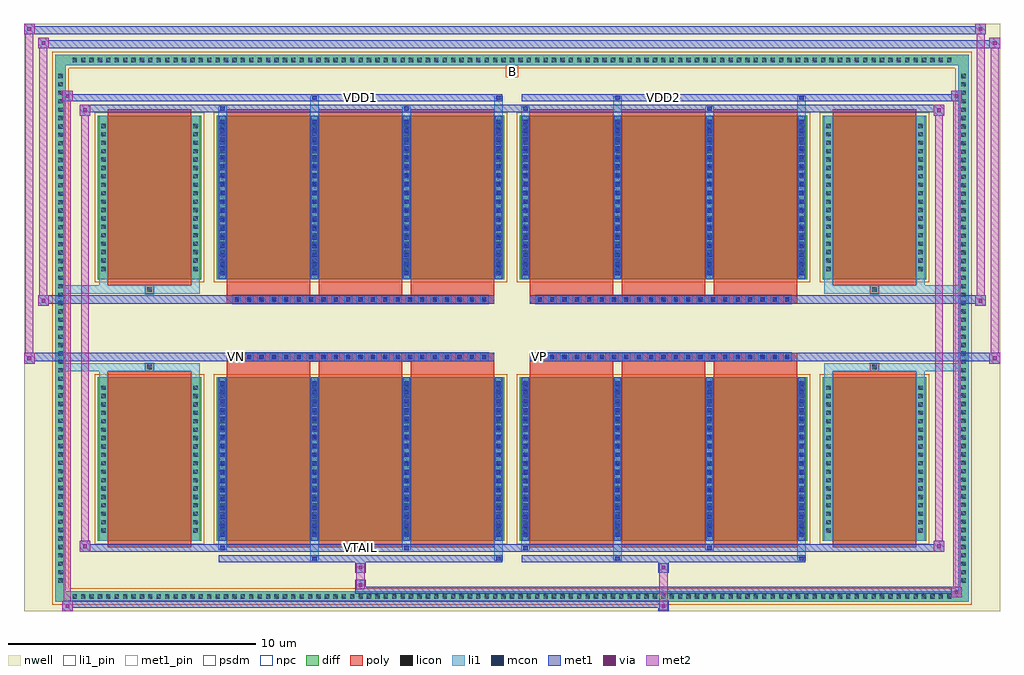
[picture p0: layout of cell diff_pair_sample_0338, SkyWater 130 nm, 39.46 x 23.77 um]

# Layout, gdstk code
import gdstk
lib = gdstk.Library(unit=1e-6, precision=5e-09)
def R(c, l, rs):  # rectangles x0, y0, x1, y1
    for r in rs: c.add(gdstk.rectangle(r[:2], r[2:], *l))
def A(c, l, x, y, w, h, nx, ny, dx, dy):  # array of equal rectangles
    R(c, l, [(x+i*dx, y+j*dy, x+i*dx+w, y+j*dy+h) for i in range(nx) for j in range(ny)])
def P(c, l, *ps):  # polygons
    for p in ps: c.add(gdstk.Polygon(p, *l))
nwell = (64, 20)
diff = (65, 20)
poly = (66, 20)
licon = (66, 44)
li1_pin = (67, 16)
li1 = (67, 20)
mcon = (67, 44)
met1_pin = (68, 16)
met1 = (68, 20)
via = (68, 44)
met2 = (69, 20)
psdm = (94, 20)
npc = (95, 20)

diff_pair_sample_0338 = lib.new_cell('diff_pair_sample_0338')
R(diff_pair_sample_0338, nwell, [(-19.73,-11.45,19.73,12.32), (-17.05,-9.64,-0.01,-0.8), (0.01,-9.64,17.05,-0.8), (-17.05,0.8,-0.01,9.64), (0.01,0.8,17.05,9.64)])
A(diff_pair_sample_0338, diff, -17.885, -11.05, 0.41, 0.41, 105, 2, 0.34, 21.69)
A(diff_pair_sample_0338, diff, -18.46, -10.405, 0.41, 0.41, 1, 61, 0, 0.34)
A(diff_pair_sample_0338, diff, 18.05, -10.405, 0.41, 0.41, 1, 61, 0, 0.34)
R(diff_pair_sample_0338, diff, [(-17.885,-11.05,17.885,-10.64), (-18.46,-10.405,-18.05,10.405), (18.05,-10.405,18.46,10.405), (-16.74,-8.595,-12.57,-1.985), (-11.93,-8.595,-0.32,-1.985), (0.32,-8.595,11.93,-1.985), (12.57,-8.595,16.74,-1.985), (-16.74,1.985,-12.57,8.595), (-11.93,1.985,-0.32,8.595), (0.32,1.985,11.93,8.595), (12.57,1.985,16.74,8.595), (-17.885,10.64,17.885,11.05)])
P(diff_pair_sample_0338, diff, [(18.46,11.05),(-18.46,11.05),(-18.46,-10.64),(-18.05,-10.64),(-18.05,10.64),(18.05,10.64),(18.05,-10.64),(-18.05,-10.64),(-18.46,-10.64),(-18.46,-11.05),(18.46,-11.05)])
A(diff_pair_sample_0338, poly, -11.54, -8.845, 3.39, 7.11, 3, 2, 3.72, 10.58)
A(diff_pair_sample_0338, poly, 0.71, -8.845, 3.39, 7.11, 3, 2, 3.72, 10.58)
A(diff_pair_sample_0338, poly, -11.54, -1.735, 3.39, 0.405, 3, 2, 3.72, 3.065)
A(diff_pair_sample_0338, poly, 0.71, -1.735, 3.39, 0.405, 3, 2, 3.72, 3.065)
A(diff_pair_sample_0338, poly, -11.29, -1.33, 0.33, 0.33, 21, 2, 0.5, 2.33)
A(diff_pair_sample_0338, poly, 0.96, -1.33, 0.33, 0.33, 21, 2, 0.5, 2.33)
R(diff_pair_sample_0338, poly, [(-16.35,-8.845,-12.96,-1.735), (12.96,-8.845,16.35,-1.735), (-14.82,-1.735,-14.49,-1.405), (-14.82,-1.735,-14.49,-1.405), (14.49,-1.735,14.82,-1.405), (14.49,-1.735,14.82,-1.405), (-11.54,-1.33,-0.71,-1), (0.71,-1.33,11.54,-1), (-11.54,1,-0.71,1.33), (0.71,1,11.54,1.33), (-14.82,1.405,-14.49,1.735), (-14.82,1.405,-14.49,1.735), (14.49,1.405,14.82,1.735), (14.49,1.405,14.82,1.735), (-16.35,1.735,-12.96,8.845), (12.96,1.735,16.35,8.845)])
A(diff_pair_sample_0338, licon, -17.765, -10.93, 0.17, 0.17, 105, 2, 0.34, 21.69)
A(diff_pair_sample_0338, licon, -18.34, -10.285, 0.17, 0.17, 1, 61, 0, 0.34)
A(diff_pair_sample_0338, licon, 18.17, -10.285, 0.17, 0.17, 1, 61, 0, 0.34)
A(diff_pair_sample_0338, licon, -16.6, -8.265, 0.17, 0.17, 1, 18, 0, 0.34)
A(diff_pair_sample_0338, licon, -12.88, -8.265, 0.17, 0.17, 1, 18, 0, 0.34)
A(diff_pair_sample_0338, licon, -11.79, -8.265, 0.17, 0.17, 4, 18, 3.72, 0.34)
A(diff_pair_sample_0338, licon, 0.46, -8.265, 0.17, 0.17, 4, 18, 3.72, 0.34)
A(diff_pair_sample_0338, licon, 12.71, -8.265, 0.17, 0.17, 1, 18, 0, 0.34)
A(diff_pair_sample_0338, licon, 16.43, -8.265, 0.17, 0.17, 1, 18, 0, 0.34)
A(diff_pair_sample_0338, licon, -11.21, -1.25, 0.17, 0.17, 21, 2, 0.5, 2.33)
A(diff_pair_sample_0338, licon, 1.04, -1.25, 0.17, 0.17, 21, 2, 0.5, 2.33)
A(diff_pair_sample_0338, licon, -16.6, 2.315, 0.17, 0.17, 1, 18, 0, 0.34)
A(diff_pair_sample_0338, licon, -12.88, 2.315, 0.17, 0.17, 1, 18, 0, 0.34)
A(diff_pair_sample_0338, licon, -11.79, 2.315, 0.17, 0.17, 4, 18, 3.72, 0.34)
A(diff_pair_sample_0338, licon, 0.46, 2.315, 0.17, 0.17, 4, 18, 3.72, 0.34)
A(diff_pair_sample_0338, licon, 12.71, 2.315, 0.17, 0.17, 1, 18, 0, 0.34)
A(diff_pair_sample_0338, licon, 16.43, 2.315, 0.17, 0.17, 1, 18, 0, 0.34)
R(diff_pair_sample_0338, licon, [(-14.74,-1.655,-14.57,-1.485), (14.57,-1.655,14.74,-1.485), (-14.74,1.485,-14.57,1.655), (14.57,1.485,14.74,1.655)])
R(diff_pair_sample_0338, li1_pin, [(-0.25,10.14,0.25,10.64)])
A(diff_pair_sample_0338, li1, -17.845, -11.01, 0.33, 0.33, 105, 2, 0.34, 21.69)
A(diff_pair_sample_0338, li1, -18.42, -10.365, 0.33, 0.33, 1, 61, 0, 0.34)
A(diff_pair_sample_0338, li1, 18.09, -10.365, 0.33, 0.33, 1, 61, 0, 0.34)
A(diff_pair_sample_0338, li1, -11.87, -8.595, 0.33, 6.61, 4, 2, 3.72, 10.58)
A(diff_pair_sample_0338, li1, 0.38, -8.595, 0.33, 6.61, 4, 2, 3.72, 10.58)
A(diff_pair_sample_0338, li1, -11.79, -8.435, 0.17, 0.17, 4, 18, 3.72, 0.36)
A(diff_pair_sample_0338, li1, -11.79, -8.435, 0.17, 6.29, 4, 2, 3.72, 10.58)
A(diff_pair_sample_0338, li1, 0.46, -8.435, 0.17, 0.17, 4, 18, 3.72, 0.36)
A(diff_pair_sample_0338, li1, 0.46, -8.435, 0.17, 6.29, 4, 2, 3.72, 10.58)
A(diff_pair_sample_0338, li1, -16.68, -8.345, 0.33, 0.33, 1, 18, 0, 0.34)
A(diff_pair_sample_0338, li1, -12.96, -8.345, 0.33, 0.33, 1, 18, 0, 0.34)
A(diff_pair_sample_0338, li1, -11.87, -8.345, 0.33, 0.33, 4, 18, 3.72, 0.34)
A(diff_pair_sample_0338, li1, 0.38, -8.345, 0.33, 0.33, 4, 18, 3.72, 0.34)
A(diff_pair_sample_0338, li1, 12.63, -8.345, 0.33, 0.33, 1, 18, 0, 0.34)
A(diff_pair_sample_0338, li1, 16.35, -8.345, 0.33, 0.33, 1, 18, 0, 0.34)
A(diff_pair_sample_0338, li1, -11.29, -1.33, 0.33, 0.33, 21, 2, 0.5, 2.33)
A(diff_pair_sample_0338, li1, 0.96, -1.33, 0.33, 0.33, 21, 2, 0.5, 2.33)
A(diff_pair_sample_0338, li1, -11.79, 2.145, 0.17, 0.17, 4, 18, 3.72, 0.36)
A(diff_pair_sample_0338, li1, 0.46, 2.145, 0.17, 0.17, 4, 18, 3.72, 0.36)
A(diff_pair_sample_0338, li1, -16.68, 2.235, 0.33, 0.33, 1, 18, 0, 0.34)
A(diff_pair_sample_0338, li1, -12.96, 2.235, 0.33, 0.33, 1, 18, 0, 0.34)
A(diff_pair_sample_0338, li1, -11.87, 2.235, 0.33, 0.33, 4, 18, 3.72, 0.34)
A(diff_pair_sample_0338, li1, 0.38, 2.235, 0.33, 0.33, 4, 18, 3.72, 0.34)
A(diff_pair_sample_0338, li1, 12.63, 2.235, 0.33, 0.33, 1, 18, 0, 0.34)
A(diff_pair_sample_0338, li1, 16.35, 2.235, 0.33, 0.33, 1, 18, 0, 0.34)
R(diff_pair_sample_0338, li1, [(-18.46,-11.05,-18.05,-10.64), (-18.46,-11.05,-18.05,-10.64), (-18.05,-11.05,18.05,-10.64), (18.05,-11.05,18.46,-10.64), (18.05,-11.05,18.46,-10.64), (-18.46,-10.64,-18.05,10.64), (18.05,-10.64,18.46,10.64), (-8.15,-9.4,-7.82,-8.595), (-8.07,-9.4,-7.9,-9.23), (-0.71,-9.4,-0.38,-8.595), (-0.63,-9.4,-0.46,-9.23), (4.1,-9.4,4.43,-8.595), (4.18,-9.4,4.35,-9.23), (11.54,-9.4,11.87,-8.595), (11.62,-9.4,11.79,-9.23), (-11.87,-8.97,-11.54,-8.595), (-11.79,-8.97,-11.62,-8.8), (-4.43,-8.97,-4.1,-8.595), (-4.35,-8.97,-4.18,-8.8), (0.38,-8.97,0.71,-8.595), (0.46,-8.97,0.63,-8.8), (7.82,-8.97,8.15,-8.595), (7.9,-8.97,8.07,-8.8), (-16.68,-8.595,-16.35,-1.985), (-12.96,-8.595,-12.63,-1.985), (12.63,-8.595,12.96,-1.985), (16.35,-8.595,16.68,-1.985), (-16.68,-1.985,-16.35,-1.405), (-12.96,-1.985,-12.63,-1.405), (12.63,-1.985,12.96,-1.405), (16.35,-1.985,16.68,-1.405), (-18.46,-1.735,-14.82,-1.405), (-16.68,-1.735,-14.82,-1.405), (-14.82,-1.735,-14.49,-1.405), (-14.49,-1.735,-12.63,-1.405), (12.63,-1.735,14.49,-1.405), (14.49,-1.735,14.82,-1.405), (14.49,-1.735,18.46,-1.405), (14.82,-1.735,16.68,-1.405), (-18.46,1.405,-14.82,1.735), (-16.68,1.405,-14.82,1.735), (-16.68,1.405,-16.35,1.985), (-14.82,1.405,-14.49,1.735), (-14.49,1.405,-12.63,1.735), (-12.96,1.405,-12.63,1.985), (12.63,1.405,14.49,1.735), (12.63,1.405,12.96,1.985), (14.49,1.405,14.82,1.735), (14.49,1.405,18.46,1.735), (14.82,1.405,16.68,1.735), (16.35,1.405,16.68,1.985), (-16.68,1.985,-16.35,8.595), (-12.96,1.985,-12.63,8.595), (12.63,1.985,12.96,8.595), (16.35,1.985,16.68,8.595), (-11.87,8.595,-11.54,8.97), (-8.15,8.595,-7.82,9.4), (-4.43,8.595,-4.1,8.97), (-0.71,8.595,-0.38,9.4), (0.38,8.595,0.71,8.97), (4.1,8.595,4.43,9.4), (7.82,8.595,8.15,8.97), (11.54,8.595,11.87,9.4), (-11.79,8.8,-11.62,8.97), (-4.35,8.8,-4.18,8.97), (0.46,8.8,0.63,8.97), (7.9,8.8,8.07,8.97), (-8.07,9.23,-7.9,9.4), (-0.63,9.23,-0.46,9.4), (4.18,9.23,4.35,9.4), (11.62,9.23,11.79,9.4), (-18.46,10.64,-18.05,11.05), (-18.46,10.64,-18.05,11.05), (-18.05,10.64,18.05,11.05), (18.05,10.64,18.46,11.05), (18.05,10.64,18.46,11.05)])
A(diff_pair_sample_0338, mcon, -11.79, -8.435, 0.17, 0.17, 4, 18, 3.72, 0.36)
A(diff_pair_sample_0338, mcon, 0.46, -8.435, 0.17, 0.17, 4, 18, 3.72, 0.36)
A(diff_pair_sample_0338, mcon, -11.21, -1.25, 0.17, 0.17, 21, 2, 0.5, 2.33)
A(diff_pair_sample_0338, mcon, 1.04, -1.25, 0.17, 0.17, 21, 2, 0.5, 2.33)
A(diff_pair_sample_0338, mcon, -11.79, 2.145, 0.17, 0.17, 4, 18, 3.72, 0.36)
A(diff_pair_sample_0338, mcon, 0.46, 2.145, 0.17, 0.17, 4, 18, 3.72, 0.36)
R(diff_pair_sample_0338, mcon, [(-8.07,-9.4,-7.9,-9.23), (-0.63,-9.4,-0.46,-9.23), (4.18,-9.4,4.35,-9.23), (11.62,-9.4,11.79,-9.23), (-11.79,-8.97,-11.62,-8.8), (-4.35,-8.97,-4.18,-8.8), (0.46,-8.97,0.63,-8.8), (7.9,-8.97,8.07,-8.8), (-11.79,8.8,-11.62,8.97), (-4.35,8.8,-4.18,8.97), (0.46,8.8,0.63,8.97), (7.9,8.8,8.07,8.97), (-8.07,9.23,-7.9,9.4), (-0.63,9.23,-0.46,9.4), (4.18,9.23,4.35,9.4), (11.62,9.23,11.79,9.4)])
R(diff_pair_sample_0338, met1_pin, [(-6.26,-9.01,-5.99,-8.74), (-11.26,-1.29,-10.99,-1.02), (0.99,-1.29,1.26,-1.02), (-6.26,9.19,-5.99,9.46), (5.99,9.19,6.26,9.46)])
A(diff_pair_sample_0338, met1, -11.85, -8.595, 0.29, 6.61, 4, 2, 3.72, 10.58)
A(diff_pair_sample_0338, met1, 0.4, -8.595, 0.29, 6.61, 4, 2, 3.72, 10.58)
A(diff_pair_sample_0338, met1, -11.85, -8.495, 0.29, 0.29, 4, 18, 3.72, 0.36)
A(diff_pair_sample_0338, met1, 0.4, -8.495, 0.29, 0.29, 4, 18, 3.72, 0.36)
A(diff_pair_sample_0338, met1, -11.27, -1.31, 0.29, 0.29, 21, 2, 0.5, 2.33)
A(diff_pair_sample_0338, met1, 0.98, -1.31, 0.29, 0.29, 21, 2, 0.5, 2.33)
A(diff_pair_sample_0338, met1, -11.85, 2.085, 0.29, 0.29, 4, 18, 3.72, 0.36)
A(diff_pair_sample_0338, met1, 0.4, 2.085, 0.29, 0.29, 4, 18, 3.72, 0.36)
R(diff_pair_sample_0338, met1, [(-18.19,-11.45,-17.76,-11.02), (5.91,-11.45,6.34,-11.02), (-18.19,-11.31,6.34,-11.02), (17.76,-10.88,18.19,-10.45), (-6.34,-10.74,18.19,-10.45), (-6.34,-10.6,-5.91,-10.17), (-6.34,-9.89,-5.91,-9.46), (5.91,-9.89,6.34,-9.46), (-11.85,-9.46,-0.4,-9.17), (-8.13,-9.46,-7.84,-9.17), (-0.69,-9.46,-0.4,-9.17), (0.4,-9.46,11.85,-9.17), (4.12,-9.46,4.41,-9.17), (11.56,-9.46,11.85,-9.17), (-17.48,-9.03,-17.05,-8.6), (-17.48,-9.03,-11.85,-8.74), (-11.85,-9.03,-11.56,-8.74), (-11.85,-9.03,-0.4,-8.74), (-4.41,-9.03,-4.12,-8.74), (-0.4,-9.03,0.4,-8.74), (0.4,-9.03,0.69,-8.74), (0.4,-9.03,11.85,-8.74), (7.84,-9.03,8.13,-8.74), (11.85,-9.03,17.48,-8.74), (17.05,-9.03,17.48,-8.6), (-19.73,-1.43,-19.3,-1), (19.3,-1.43,19.73,-1), (-19.73,-1.33,-0.71,-1), (-11.54,-1.33,-0.71,-1), (0.71,-1.33,11.54,-1), (0.71,-1.33,19.73,-1), (-19.16,0.9,-18.73,1.33), (18.73,0.9,19.16,1.33), (-19.16,1,-11.54,1.33), (-11.54,1,-0.71,1.33), (0.71,1,11.54,1.33), (11.54,1,19.16,1.33), (-17.48,8.6,-17.05,9.03), (17.05,8.6,17.48,9.03), (-17.48,8.74,-11.85,9.03), (-11.85,8.74,-11.56,9.03), (-11.85,8.74,-0.4,9.03), (-4.41,8.74,-4.12,9.03), (-0.4,8.74,0.4,9.03), (0.4,8.74,0.69,9.03), (0.4,8.74,11.85,9.03), (7.84,8.74,8.13,9.03), (11.85,8.74,17.48,9.03), (-18.19,9.17,-17.76,9.6), (-18.19,9.17,-11.85,9.46), (-11.85,9.17,-0.4,9.46), (-8.13,9.17,-7.84,9.46), (-0.69,9.17,-0.4,9.46), (0.4,9.17,11.85,9.46), (4.12,9.17,4.41,9.46), (11.56,9.17,11.85,9.46), (11.85,9.17,18.19,9.46), (17.76,9.17,18.19,9.6), (-19.16,11.32,-18.73,11.75), (-19.16,11.32,-17.05,11.65), (-17.05,11.32,17.05,11.65), (17.05,11.32,19.73,11.65), (19.3,11.32,19.73,11.75), (-19.73,11.89,-19.3,12.32), (-19.73,11.89,-17.05,12.22), (-17.05,11.89,17.05,12.22), (17.05,11.89,19.16,12.22), (18.73,11.89,19.16,12.32)])
R(diff_pair_sample_0338, via, [(-18.05,-11.31,-17.9,-11.16), (6.05,-11.31,6.2,-11.16), (17.9,-10.74,18.05,-10.59), (-6.2,-10.46,-6.05,-10.31), (-6.2,-9.75,-6.05,-9.6), (6.05,-9.75,6.2,-9.6), (-17.34,-8.89,-17.19,-8.74), (17.19,-8.89,17.34,-8.74), (-19.59,-1.29,-19.44,-1.14), (19.44,-1.29,19.59,-1.14), (-19.02,1.04,-18.87,1.19), (18.87,1.04,19.02,1.19), (-17.34,8.74,-17.19,8.89), (17.19,8.74,17.34,8.89), (-18.05,9.31,-17.9,9.46), (17.9,9.31,18.05,9.46), (-19.02,11.46,-18.87,11.61), (19.44,11.46,19.59,11.61), (-19.59,12.03,-19.44,12.18), (18.87,12.03,19.02,12.18)])
R(diff_pair_sample_0338, met2, [(-18.19,-11.45,-17.76,-11.02), (-18.12,-11.45,-17.83,9.6), (-17.83,-11.45,-17.76,-11.02), (-18.14,-11.4,-17.81,-11.07), (5.96,-11.4,6.29,-11.07), (5.96,-11.07,6.29,-9.84), (17.76,-10.88,18.19,-10.45), (17.83,-10.88,18.12,9.6), (18.12,-10.88,18.19,-10.45), (17.81,-10.83,18.14,-10.5), (-6.29,-10.55,-5.96,-10.22), (-6.29,-10.22,-5.96,-9.84), (-6.29,-9.84,-5.96,-9.51), (5.96,-9.84,6.29,-9.51), (-17.48,-9.03,-17.05,-8.6), (-17.41,-9.03,-17.12,9.03), (-17.12,-9.03,-17.05,-8.6), (17.05,-9.03,17.48,-8.6), (17.12,-9.03,17.41,9.03), (17.41,-9.03,17.48,-8.6), (-17.43,-8.98,-17.1,-8.65), (17.1,-8.98,17.43,-8.65), (-19.73,-1.43,-19.3,-1), (-19.68,-1.43,-19.35,12.32), (-19.35,-1.43,-19.3,-1), (19.3,-1.43,19.73,-1), (19.35,-1.43,19.68,11.75), (19.68,-1.43,19.73,-1), (-19.68,-1.38,-19.35,-1.05), (19.35,-1.38,19.68,-1.05), (-19.16,0.9,-18.73,1.33), (-19.11,0.9,-18.78,11.75), (-18.78,0.9,-18.73,1.33), (18.73,0.9,19.16,1.33), (18.78,0.9,19.11,12.32), (19.11,0.9,19.16,1.33), (-19.11,0.95,-18.78,1.28), (18.78,0.95,19.11,1.28), (-17.48,8.6,-17.05,9.03), (-17.12,8.6,-17.05,9.03), (17.05,8.6,17.48,9.03), (17.41,8.6,17.48,9.03), (-17.43,8.65,-17.1,8.98), (17.1,8.65,17.43,8.98), (-18.19,9.17,-17.76,9.6), (-17.83,9.17,-17.76,9.6), (17.76,9.17,18.19,9.6), (18.12,9.17,18.19,9.6), (-18.14,9.22,-17.81,9.55), (17.81,9.22,18.14,9.55), (-19.16,11.32,-18.73,11.75), (-18.78,11.32,-18.73,11.75), (19.3,11.32,19.73,11.75), (19.68,11.32,19.73,11.75), (-19.11,11.37,-18.78,11.7), (19.35,11.37,19.68,11.7), (-19.73,11.89,-19.3,12.32), (-19.35,11.89,-19.3,12.32), (18.73,11.89,19.16,12.32), (19.11,11.89,19.16,12.32), (-19.68,11.94,-19.35,12.27), (18.78,11.94,19.11,12.27)])
R(diff_pair_sample_0338, psdm, [(-16.87,-8.725,-12.44,-1.855), (-12.06,-8.725,-0.19,-1.855), (0.19,-8.725,12.06,-1.855), (12.44,-8.725,16.87,-1.855), (-16.87,1.855,-12.44,8.725), (-12.06,1.855,-0.19,8.725), (0.19,1.855,12.06,8.725), (12.44,1.855,16.87,8.725)])
P(diff_pair_sample_0338, psdm, [(18.59,11.18),(-18.59,11.18),(-18.59,-10.51),(-17.92,-10.51),(-17.92,10.51),(17.92,10.51),(17.92,-10.51),(-17.92,-10.51),(-18.59,-10.51),(-18.59,-11.18),(18.59,-11.18)])
A(diff_pair_sample_0338, npc, -11.31, -1.35, 0.37, 0.37, 21, 2, 0.5, 2.33)
A(diff_pair_sample_0338, npc, 0.94, -1.35, 0.37, 0.37, 21, 2, 0.5, 2.33)
R(diff_pair_sample_0338, npc, [(-14.84,-1.755,-14.47,-1.385), (14.47,-1.755,14.84,-1.385), (-11.31,-1.35,-10.44,-0.98), (-11.31,-1.35,-10.44,-0.98), (-10.81,-1.35,-9.94,-0.98), (-10.81,-1.35,-9.94,-0.98), (-10.31,-1.35,-9.44,-0.98), (-10.31,-1.35,-9.44,-0.98), (-9.81,-1.35,-8.94,-0.98), (-9.81,-1.35,-8.94,-0.98), (-9.31,-1.35,-8.44,-0.98), (-9.31,-1.35,-8.44,-0.98), (-8.81,-1.35,-7.94,-0.98), (-8.81,-1.35,-7.94,-0.98), (-8.31,-1.35,-7.44,-0.98), (-8.31,-1.35,-7.44,-0.98), (-7.81,-1.35,-6.94,-0.98), (-7.81,-1.35,-6.94,-0.98), (-7.31,-1.35,-6.44,-0.98), (-7.31,-1.35,-6.44,-0.98), (-6.81,-1.35,-5.94,-0.98), (-6.81,-1.35,-5.94,-0.98), (-6.31,-1.35,-5.44,-0.98), (-6.31,-1.35,-5.44,-0.98), (-5.81,-1.35,-4.94,-0.98), (-5.81,-1.35,-4.94,-0.98), (-5.31,-1.35,-4.44,-0.98), (-5.31,-1.35,-4.44,-0.98), (-4.81,-1.35,-3.94,-0.98), (-4.81,-1.35,-3.94,-0.98), (-4.31,-1.35,-3.44,-0.98), (-4.31,-1.35,-3.44,-0.98), (-3.81,-1.35,-2.94,-0.98), (-3.81,-1.35,-2.94,-0.98), (-3.31,-1.35,-2.44,-0.98), (-3.31,-1.35,-2.44,-0.98), (-2.81,-1.35,-1.94,-0.98), (-2.81,-1.35,-1.94,-0.98), (-2.31,-1.35,-1.44,-0.98), (-2.31,-1.35,-1.44,-0.98), (-1.81,-1.35,-0.94,-0.98), (-1.81,-1.35,-0.94,-0.98), (0.94,-1.35,1.81,-0.98), (0.94,-1.35,1.81,-0.98), (1.44,-1.35,2.31,-0.98), (1.44,-1.35,2.31,-0.98), (1.94,-1.35,2.81,-0.98), (1.94,-1.35,2.81,-0.98), (2.44,-1.35,3.31,-0.98), (2.44,-1.35,3.31,-0.98), (2.94,-1.35,3.81,-0.98), (2.94,-1.35,3.81,-0.98), (3.44,-1.35,4.31,-0.98), (3.44,-1.35,4.31,-0.98), (3.94,-1.35,4.81,-0.98), (3.94,-1.35,4.81,-0.98), (4.44,-1.35,5.31,-0.98), (4.44,-1.35,5.31,-0.98), (4.94,-1.35,5.81,-0.98), (4.94,-1.35,5.81,-0.98), (5.44,-1.35,6.31,-0.98), (5.44,-1.35,6.31,-0.98), (5.94,-1.35,6.81,-0.98), (5.94,-1.35,6.81,-0.98), (6.44,-1.35,7.31,-0.98), (6.44,-1.35,7.31,-0.98), (6.94,-1.35,7.81,-0.98), (6.94,-1.35,7.81,-0.98), (7.44,-1.35,8.31,-0.98), (7.44,-1.35,8.31,-0.98), (7.94,-1.35,8.81,-0.98), (7.94,-1.35,8.81,-0.98), (8.44,-1.35,9.31,-0.98), (8.44,-1.35,9.31,-0.98), (8.94,-1.35,9.81,-0.98), (8.94,-1.35,9.81,-0.98), (9.44,-1.35,10.31,-0.98), (9.44,-1.35,10.31,-0.98), (9.94,-1.35,10.81,-0.98), (9.94,-1.35,10.81,-0.98), (10.44,-1.35,11.31,-0.98), (10.44,-1.35,11.31,-0.98), (-11.31,0.98,-10.44,1.35), (-11.31,0.98,-10.44,1.35), (-10.81,0.98,-9.94,1.35), (-10.81,0.98,-9.94,1.35), (-10.31,0.98,-9.44,1.35), (-10.31,0.98,-9.44,1.35), (-9.81,0.98,-8.94,1.35), (-9.81,0.98,-8.94,1.35), (-9.31,0.98,-8.44,1.35), (-9.31,0.98,-8.44,1.35), (-8.81,0.98,-7.94,1.35), (-8.81,0.98,-7.94,1.35), (-8.31,0.98,-7.44,1.35), (-8.31,0.98,-7.44,1.35), (-7.81,0.98,-6.94,1.35), (-7.81,0.98,-6.94,1.35), (-7.31,0.98,-6.44,1.35), (-7.31,0.98,-6.44,1.35), (-6.81,0.98,-5.94,1.35), (-6.81,0.98,-5.94,1.35), (-6.31,0.98,-5.44,1.35), (-6.31,0.98,-5.44,1.35), (-5.81,0.98,-4.94,1.35), (-5.81,0.98,-4.94,1.35), (-5.31,0.98,-4.44,1.35), (-5.31,0.98,-4.44,1.35), (-4.81,0.98,-3.94,1.35), (-4.81,0.98,-3.94,1.35), (-4.31,0.98,-3.44,1.35), (-4.31,0.98,-3.44,1.35), (-3.81,0.98,-2.94,1.35), (-3.81,0.98,-2.94,1.35), (-3.31,0.98,-2.44,1.35), (-3.31,0.98,-2.44,1.35), (-2.81,0.98,-1.94,1.35), (-2.81,0.98,-1.94,1.35), (-2.31,0.98,-1.44,1.35), (-2.31,0.98,-1.44,1.35), (-1.81,0.98,-0.94,1.35), (-1.81,0.98,-0.94,1.35), (0.94,0.98,1.81,1.35), (0.94,0.98,1.81,1.35), (1.44,0.98,2.31,1.35), (1.44,0.98,2.31,1.35), (1.94,0.98,2.81,1.35), (1.94,0.98,2.81,1.35), (2.44,0.98,3.31,1.35), (2.44,0.98,3.31,1.35), (2.94,0.98,3.81,1.35), (2.94,0.98,3.81,1.35), (3.44,0.98,4.31,1.35), (3.44,0.98,4.31,1.35), (3.94,0.98,4.81,1.35), (3.94,0.98,4.81,1.35), (4.44,0.98,5.31,1.35), (4.44,0.98,5.31,1.35), (4.94,0.98,5.81,1.35), (4.94,0.98,5.81,1.35), (5.44,0.98,6.31,1.35), (5.44,0.98,6.31,1.35), (5.94,0.98,6.81,1.35), (5.94,0.98,6.81,1.35), (6.44,0.98,7.31,1.35), (6.44,0.98,7.31,1.35), (6.94,0.98,7.81,1.35), (6.94,0.98,7.81,1.35), (7.44,0.98,8.31,1.35), (7.44,0.98,8.31,1.35), (7.94,0.98,8.81,1.35), (7.94,0.98,8.81,1.35), (8.44,0.98,9.31,1.35), (8.44,0.98,9.31,1.35), (8.94,0.98,9.81,1.35), (8.94,0.98,9.81,1.35), (9.44,0.98,10.31,1.35), (9.44,0.98,10.31,1.35), (9.94,0.98,10.81,1.35), (9.94,0.98,10.81,1.35), (10.44,0.98,11.31,1.35), (10.44,0.98,11.31,1.35), (-14.84,1.385,-14.47,1.755), (14.47,1.385,14.84,1.755)])
diff_pair_sample_0338.add(gdstk.Label('VTAIL', (-6.125,-8.875), layer=68, texttype=5))
diff_pair_sample_0338.add(gdstk.Label('VN', (-11.125,-1.155), layer=68, texttype=5))
diff_pair_sample_0338.add(gdstk.Label('VP', (1.125,-1.155), layer=68, texttype=5))
diff_pair_sample_0338.add(gdstk.Label('B', (0,10.39), layer=67, texttype=5))
diff_pair_sample_0338.add(gdstk.Label('VDD2', (6.125,9.325), layer=68, texttype=5))
diff_pair_sample_0338.add(gdstk.Label('VDD1', (-6.125,9.325), layer=68, texttype=5))

lib.write_gds('diff_pair_sample_0338.gds')
